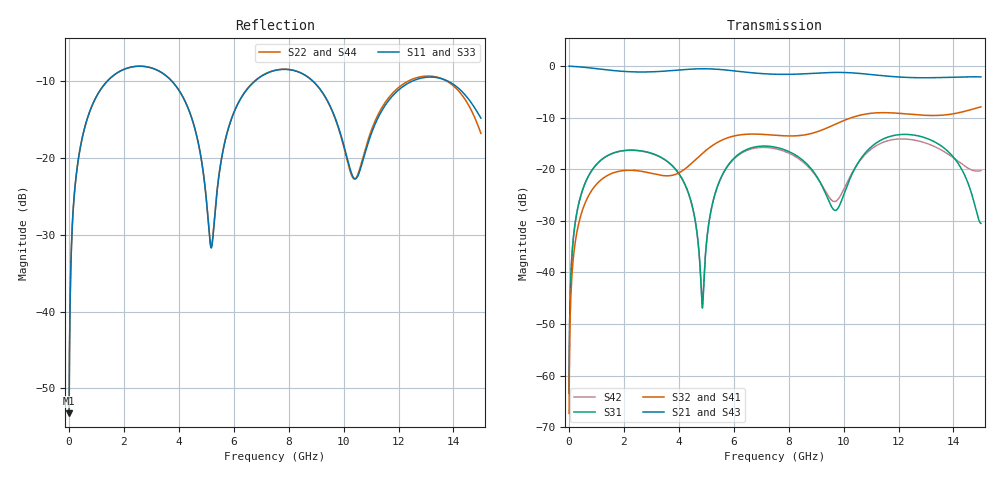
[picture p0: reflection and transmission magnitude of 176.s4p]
! Created with skrf 1.8.0 (http://scikit-rf.org).
# GHz S RI R 50.0
!freq ReS11 ImS11 ReS12 ImS12 ReS13 ImS13
! ReS14 ImS14
! ReS21 ImS21 ReS22 ImS22 ReS23 ImS23
! ReS24 ImS24
! ReS31 ImS31 ReS32 ImS32 ReS33 ImS33
! ReS34 ImS34
! ReS41 ImS41 ReS42 ImS42 ReS43 ImS43
! ReS44 ImS44
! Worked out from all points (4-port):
!   2499 points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, 5 MHz to 15 GHz, reference 50 ohm
!   strongest paths, dB at 5 MHz, 3.476 GHz, 7.19 GHz, 11.1 GHz, 15 GHz:
!     S21: 0.0, -1.0, -1.5, -1.7, -2.1
!     S43: 0.0, -1.0, -1.5, -1.7, -2.1
!     S32: -67.3, -21.3, -13.3, -9.1, -7.9
!     S41: -67.3, -21.4, -13.4, -9.1, -7.9
!     S31: -63.4, -18.1, -15.5, -15.3, -30.5
!     S42: -63.4, -18.1, -15.8, -15.7, -20.3
!   lowest |S11| = -53.2 dB at 5 MHz (marker M1), VSWR 1.00, Z = 50.2 + j0.132 ohm
!   |S11| at or under -10 dB: start of sweep to 1.401 GHz; 3.739 GHz to 6.777 GHz (3.038 GHz wide, 57.8 % of centre); 8.875 GHz to 12.52 GHz (3.644 GHz wide, 34.1 % of centre) (the widest 3 of 4)
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0.005  0.00173 0.00132  0.9982 -0.00337  8.66e-05 0.000668  -8.42e-05 -0.000422
       0.9982 -0.00337  0.00173 0.00132  -8.42e-05 -0.000422  8.66e-05 0.000668
       8.66e-05 0.000668  -8.42e-05 -0.000422  0.00173 0.00132  0.9982 -0.00337
       -8.42e-05 -0.000422  8.66e-05 0.000668  0.9982 -0.00337  0.00173 0.00132
0.3626511  0.0331 0.0982  0.9543 -0.2404  0.0155 0.0447  -0.0128 -0.0276
           0.9543 -0.2404  0.0331 0.0982  -0.0129 -0.0276  0.0154 0.0448
           0.0155 0.0447  -0.0129 -0.0276  0.0331 0.0982  0.9543 -0.2404
           -0.0128 -0.0276  0.0154 0.0448  0.9543 -0.2404  0.0331 0.0982
1.67  0.3099 0.1593  0.4574 -0.7777  0.138 0.0454  -0.0927 0.00869
      0.4574 -0.7777  0.3102 0.1591  -0.0929 0.00898  0.137 0.0471
      0.138 0.0454  -0.0929 0.00898  0.3098 0.1595  0.4574 -0.7777
      -0.0927 0.00869  0.137 0.0471  0.4574 -0.7777  0.3103 0.159
4.852022  0.0414 -0.0795  -0.9051 -0.2607  -0.00451 -0.000828  -0.0366 0.1371
          -0.9051 -0.2607  0.0418 -0.0794  -0.0333 0.1379  -0.00493 -0.00053
          -0.00451 -0.000828  -0.0333 0.1379  0.0424 -0.0792  -0.9051 -0.2606
          -0.0366 0.1371  -0.00493 -0.00053  -0.9051 -0.2606  0.0408 -0.0797
7.940809  0.3755 -0.0133  -0.0351 0.8308  0.1247 -0.0853  0.2037 -0.0445
          -0.0351 0.8308  0.3762 -0.017  0.2039 -0.0522  0.1229 -0.0781
          0.1247 -0.0853  0.2039 -0.0522  0.3747 -0.012  -0.0349 0.8307
          0.2037 -0.0445  0.1229 -0.0781  -0.0349 0.8307  0.3775 -0.0183
10.74198  0.0885 0.0492  0.8391 -0.0595  0.0566 0.127  -0.0365 -0.3384
          0.8391 -0.0595  0.0912 0.0545  -0.0509 -0.3366  0.0356 0.13
          0.0566 0.127  -0.0509 -0.3366  0.0902 0.0472  0.839 -0.06
          -0.0365 -0.3384  0.0356 0.13  0.839 -0.06  0.0894 0.0572
15  0.154 -0.0956  -0.6424 -0.4518  -0.0296 0.00433  -0.2392 0.3246
    -0.6424 -0.4518  0.1168 -0.0845  -0.2163 0.3395  -0.0966 -0.00797
    -0.0296 0.00433  -0.2163 0.3395  0.1596 -0.0933  -0.6425 -0.4511
    -0.2392 0.3246  -0.0966 -0.00797  -0.6425 -0.4511  0.1095 -0.0874
